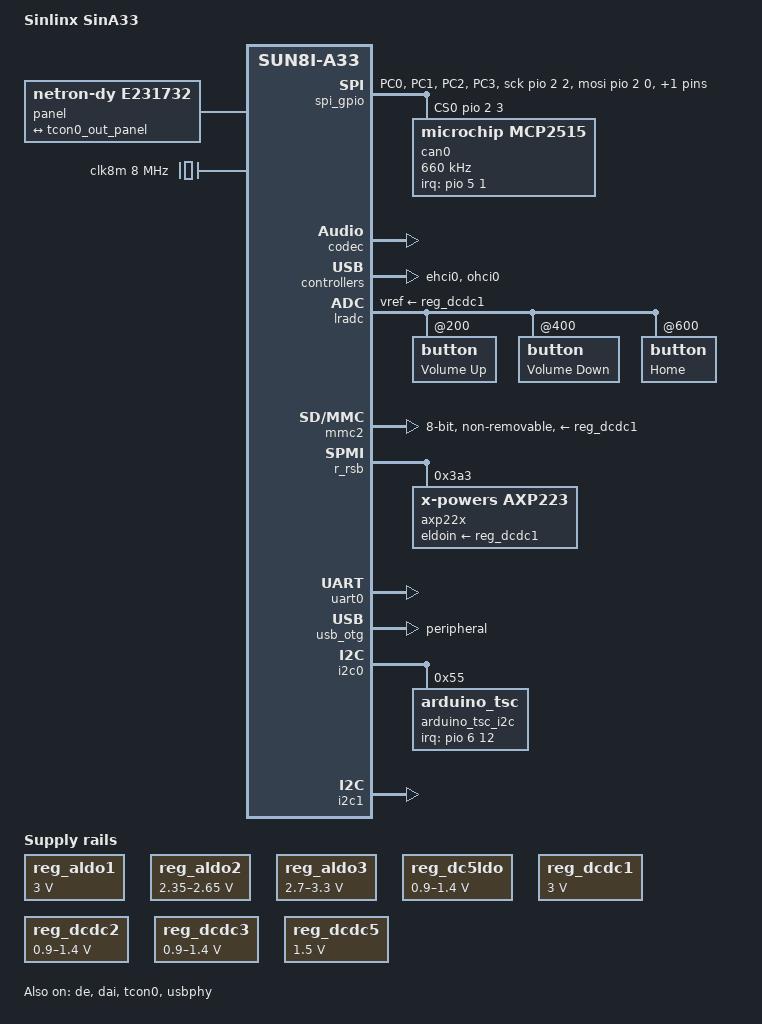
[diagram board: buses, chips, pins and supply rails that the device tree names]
/dts-v1/;
#include "sun8i-a33.dtsi"
#include "sunxi-common-regulators.dtsi"

#include <dt-bindings/gpio/gpio.h>
#include <dt-bindings/input/input.h>

/ {
    model = "Sinlinx SinA33";
    compatible = "sinlinx,sina33", "allwinner,sun8i-a33";

    aliases {
        serial0 = &uart0;
    };

    chosen {
        stdout-path = "serial0:115200n8";
    };

    panel {
        compatible = "netron-dy,e231732";
        #address-cells = <1>;
        #size-cells = <0>;

        port@0 {
            reg = <0>;
            #address-cells = <1>;
            #size-cells = <0>;

            panel_input: endpoint@0 {
                reg = <0>;
                remote-endpoint = <&tcon0_out_panel>;
            };
        };
    };

    spi_gpio: spi_gpio {
        compatible = "spi-gpio";
        pinctrl-names = "default";
        pinctrl-0 = <&spi_gpio_sck>, <&spi_gpio_miso>, <&spi_gpio_mosi>, <&spi_gpio_cs0>;
        status = "okay";
        gpio-sck = <&pio 2 2 GPIO_ACTIVE_HIGH>;    // PC2
        gpio-miso = <&pio 2 1 GPIO_ACTIVE_HIGH>;   // PC1
        gpio-mosi = <&pio 2 0 GPIO_ACTIVE_HIGH>;   // PC0
        cs-gpios = <&pio 2 3 GPIO_ACTIVE_HIGH>;    // PC3
        num-chipselects = <1>;

        #address-cells = <1>;
        #size-cells = <0>;

    };

    clk8m: clk8m {
        compatible = "fixed-clock";
        #clock-cells = <0>;
        clock-frequency = <8000000>;
    };

};

&codec {
    status = "okay";
};

&cpu0 {
    cpu-supply = <&reg_dcdc3>;
};

&cpu0_opp_table {
    opp-1104000000 {
        opp-hz = /bits/ 64 <1104000000>;
        opp-microvolt = <1320000>;
        clock-latency-ns = <244144>; /* 8 32k periods */
    };

    opp-1200000000 {
        opp-hz = /bits/ 64 <1200000000>;
        opp-microvolt = <1320000>;
        clock-latency-ns = <244144>; /* 8 32k periods */
    };
};

&de {
    status = "okay";
};

&dai {
    status = "okay";
};

&ehci0 {
    status = "okay";
};

&lradc {
    vref-supply = <&reg_dcdc1>;
    status = "okay";

    button@200 {
        label = "Volume Up";
        linux,code = <KEY_VOLUMEUP>;
        channel = <0>;
        voltage = <191011>;
    };

    button@400 {
        label = "Volume Down";
        linux,code = <KEY_VOLUMEDOWN>;
        channel = <0>;
        voltage = <391304>;
    };

    button@600 {
        label = "Home";
        linux,code = <KEY_HOME>;
        channel = <0>;
        voltage = <600000>;
    };
};

&mmc0 {
    status = "disabled";
};

&mmc2 {
    pinctrl-names = "default";
    pinctrl-0 = <&mmc2_8bit_pins>;
    vmmc-supply = <&reg_dcdc1>;
    bus-width = <8>;
    non-removable;
    cap-mmc-hw-reset;
    status = "okay";
};

&mmc2_8bit_pins {
    /* Increase drive strength for DDR modes */
    drive-strength = <40>;
    /* eMMC is missing pull-ups */
    bias-pull-up;
};

&ohci0 {
    status = "okay";
};

&pio {

    lcd_lvds_pins: lcd-lvds@0 {
        pins = "PD18", "PD19", "PD20", "PD21", "PD22", "PD23",
               "PD24", "PD25", "PD26", "PD27";
        function = "lvds0";
    };

    arduino_ts_irq_pin: arduino_ts_irq_pin@0 {
        pins = "PG12";
        function = "gpio_in";
        bias-pull-up;
    };

    spi_gpio_sck: spi_gpio_sck@0 {
        pins = "PC0";
        function = "gpio_out";
    };
    spi_gpio_miso: spi_gpio_miso@0 {
        pins = "PC1";
        function = "gpio_in";
    };
    spi_gpio_mosi: spi_gpio_mosi@0 {
        pins = "PC2";
        function = "gpio_out";
    };
    spi_gpio_cs0: spi_gpio_cs0@0 {
        pins = "PC3";
        function = "gpio_out";
    };

    can_irq_pin: can_irq_pin@0 {
        pins = "PF1";
        function = "gpio_in";
        bias-pull-up;
    };

};

&r_rsb {
    status = "okay";

    axp22x: pmic@3a3 {
        compatible = "x-powers,axp223";
        reg = <0x3a3>;
        interrupt-parent = <&nmi_intc>;
        interrupts = <0 IRQ_TYPE_LEVEL_LOW>;
        eldoin-supply = <&reg_dcdc1>;
    };
};

#include "axp223.dtsi"

&ac_power_supply {
    status = "okay";
};

&battery_power_supply {
    status = "okay";
};

&reg_aldo1 {
    regulator-always-on;
    regulator-min-microvolt = <3000000>;
    regulator-max-microvolt = <3000000>;
    regulator-name = "vcc-io";
};

&reg_aldo2 {
    regulator-always-on;
    regulator-min-microvolt = <2350000>;
    regulator-max-microvolt = <2650000>;
    regulator-name = "vdd-dll";
};

&reg_aldo3 {
    regulator-always-on;
    regulator-min-microvolt = <2700000>;
    regulator-max-microvolt = <3300000>;
    regulator-name = "vcc-pll-avcc";
};

&reg_dc5ldo {
    regulator-always-on;
    regulator-min-microvolt = <900000>;
    regulator-max-microvolt = <1400000>;
    regulator-name = "vdd-cpus";
};

&reg_dcdc1 {
    regulator-always-on;
    regulator-min-microvolt = <3000000>;
    regulator-max-microvolt = <3000000>;
    regulator-name = "vcc-3v0";
};

&reg_dcdc2 {
    regulator-always-on;
    regulator-min-microvolt = <900000>;
    regulator-max-microvolt = <1400000>;
    regulator-name = "vdd-sys";
};

&reg_dcdc3 {
    regulator-always-on;
    regulator-min-microvolt = <900000>;
    regulator-max-microvolt = <1400000>;
    regulator-name = "vdd-cpu";
};

&reg_dcdc5 {
    regulator-always-on;
    regulator-min-microvolt = <1500000>;
    regulator-max-microvolt = <1500000>;
    regulator-name = "vcc-dram";
};

&reg_rtc_ldo {
    regulator-name = "vcc-rtc";
};

&sound {
    status = "okay";
};

&tcon0 {
    pinctrl-names = "default";
    pinctrl-0 = <&lcd_lvds_pins>;
    reset-names = "lvds";
    status = "okay";
};

&tcon0_out {
    tcon0_out_panel: endpoint@0 {
        reg = <0>;
        remote-endpoint = <&panel_input>;
    };
};

&uart0 {
    pinctrl-names = "default";
    pinctrl-0 = <&uart0_pins_b>;
    status = "okay";
};

&usb_otg {
    dr_mode = "peripheral";
    status = "okay";
};

&usbphy {
    status = "okay";
    usb1_vbus-supply = <&reg_vcc5v0>; /* USB1 VBUS is always on */
};

&i2c0 {
    pinctrl-names = "default";
    pinctrl-0 = <&i2c0_pins_a>;
    
    status = "okay";

    arduino_tsc_i2c: tsc@55 {
        compatible = "arduino_tsc";
        reg = <0x55>;
        pinctrl-0 = <&arduino_ts_irq_pin>;
        interrupt-parent = <&pio>;
        interrupts = <6 12 IRQ_TYPE_EDGE_RISING>; /* PG12 */
        interrupt-names = "arduino_tsc_irq";
    };
};

&spi_gpio {
    status = "okay";

/*
    spidev@0 {
        compatible = "rohm,dh2228fv";
        reg = <0>;
        spi-max-frequency = <660000>;
    };
*/

    can0: can@0 {
        pinctrl-names = "default";
        pinctrl-0 = <&can_irq_pin>;
        compatible = "microchip,mcp2515";
        reg = <0>;
        clocks = <&clk8m>;
        spi-max-frequency = <660000>;
        interrupt-parent = <&pio>;
        interrupts = <5 1 IRQ_TYPE_EDGE_FALLING>;
//        vdd-supply = <&reg_can>;
    };

};

&i2c1 {
    status = "okay";
};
